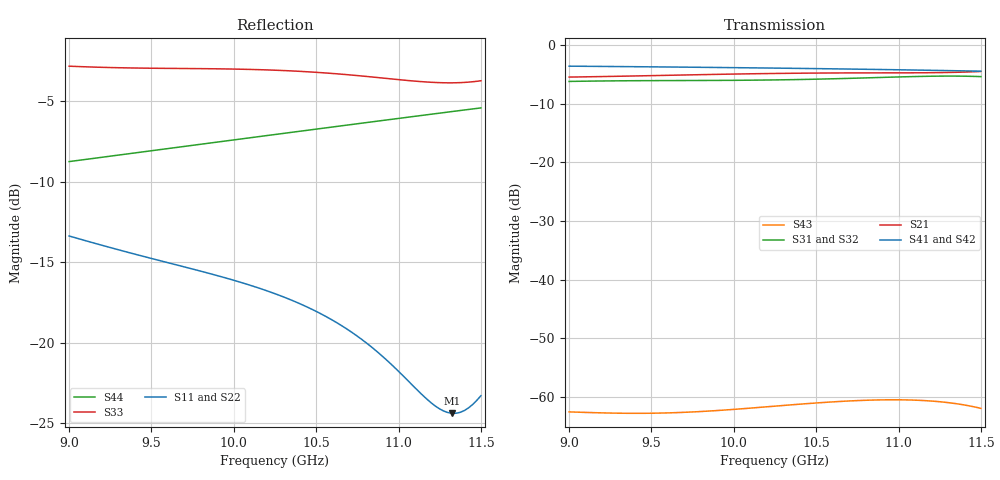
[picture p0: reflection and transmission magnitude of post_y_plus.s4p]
! Generated from PyAEDT SolutionData; AEDT ExportNetworkData workaround
# GHz S MA R 50
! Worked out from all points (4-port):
!   101 points, 9 GHz to 11.5 GHz, reference 50 ohm
!   strongest paths, dB at 9 GHz, 9.625 GHz, 10.25 GHz, 10.88 GHz, 11.5 GHz:
!     S41: -3.6, -3.8, -4.0, -4.2, -4.5
!     S42: -3.6, -3.8, -4.0, -4.2, -4.5
!     S21: -5.5, -5.2, -4.9, -4.8, -4.5
!     S31: -6.2, -6.1, -6.0, -5.6, -5.4
!     S32: -6.2, -6.1, -6.0, -5.6, -5.4
!     S43: -62.6, -62.7, -61.6, -60.5, -62.0
!   lowest |S11| = -24.4 dB at 11.32 GHz (marker M1), VSWR 1.13, Z = 54.9 - j4.02 ohm
!   |S11| at or under -10 dB: start of sweep to end of sweep
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9  0.2147 157.5  0.5315 -171.1  0.4879 -73.9  0.6583 46.0
   0.5315 -171.1  0.2161 157.4  0.4877 -74.0  0.658 -134.1
   0.4879 -73.9  0.4877 -74.0  0.724 -147.9  0.0007456 155.3
   0.6583 46.0  0.658 -134.1  0.0007456 155.3  0.3656 -114.9
9.55  0.18 100.7  0.5485 128.7  0.496 -165.9  0.6487 -16.3
      0.5485 128.7  0.1813 100.6  0.4957 -165.9  0.6485 163.6
      0.496 -165.9  0.4957 -165.9  0.713 86.4  0.0007284 65.4
      0.6487 -16.3  0.6485 163.6  0.0007284 65.4  0.3983 -173.7
9.9  0.1616 65.7  0.5607 91.4  0.4979 137.4  0.6416 -54.5
     0.5607 91.4  0.163 65.6  0.4976 137.4  0.6415 125.4
     0.4979 137.4  0.4976 137.4  0.7103 9.1  0.0007659 9.7
     0.6416 -54.5  0.6415 125.4  0.0007659 9.7  0.4205 149.7
10.2  0.145 35.9  0.5693 60.0  0.5017 89.6  0.6349 -86.6
      0.5693 60.0  0.1466 35.7  0.5015 89.5  0.6347 93.3
      0.5017 89.6  0.5015 89.5  0.7048 -56.1  0.0008238 -39.7
      0.6349 -86.6  0.6347 93.3  0.0008238 -39.7  0.4405 118.8
10.75  0.1048 -16.5  0.5768 4.2  0.5206 1.6  0.6207 -144.2
       0.5768 4.2  0.1067 -16.5  0.5205 1.5  0.6205 35.7
       0.5206 1.6  0.5205 1.5  0.6768 -178.0  0.0009306 -137.7
       0.6207 -144.2  0.6205 35.7  0.0009306 -137.7  0.4794 62.9
11.325  0.06033 -37.2  0.5827 -50.0  0.5418 -96.1  0.6027 156.7
        0.5827 -50.0  0.06209 -37.6  0.5417 -96.2  0.6026 -23.4
        0.5418 -96.1  0.5417 -96.2  0.6426 36.5  0.0008857 105.8
        0.6027 156.7  0.6026 -23.4  0.0008857 105.8  0.5231 4.8
11.5  0.06842 -31.7  0.5934 -65.5  0.5361 -128.0  0.5965 138.8
      0.5934 -65.5  0.06981 -32.4  0.536 -128.1  0.5965 -41.3
      0.5361 -128.0  0.536 -128.1  0.6522 -13.9  0.0007988 66.6
      0.5965 138.8  0.5965 -41.3  0.0007988 66.6  0.537 -12.9
